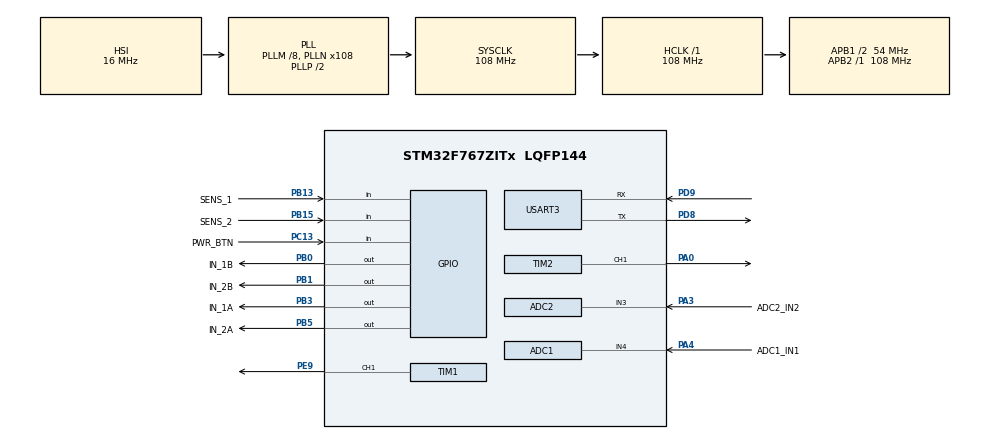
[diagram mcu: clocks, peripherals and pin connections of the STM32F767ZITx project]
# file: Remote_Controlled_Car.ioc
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ADC1.Channel-1\#ChannelRegularConversion=ADC_CHANNEL_4
ADC1.NbrOfConversionFlag=1
ADC1.Rank-1\#ChannelRegularConversion=1
ADC1.SamplingTime-1\#ChannelRegularConversion=ADC_SAMPLETIME_3CYCLES
ADC1.master=1
ADC2.Channel-0\#ChannelRegularConversion=ADC_CHANNEL_3
ADC2.NbrOfConversionFlag=1
ADC2.Rank-0\#ChannelRegularConversion=1
ADC2.SamplingTime-0\#ChannelRegularConversion=ADC_SAMPLETIME_3CYCLES
Mcu.Family=STM32F7
Mcu.Name=STM32F767ZITx
Mcu.Package=LQFP144
NVIC.PriorityGroup=NVIC_PRIORITYGROUP_4
PA0/WKUP.Signal=S_TIM2_CH1_ETR
PA3.GPIO_Label=ADC2_IN2
PA3.Signal=ADCx_IN3
PA4.GPIO_Label=ADC1_IN1
PA4.Signal=ADCx_IN4
PB0.GPIO_Label=IN_1B
PB0.Signal=GPIO_Output
PB1.GPIO_Label=IN_2B
PB1.Signal=GPIO_Output
PB13.GPIO_Label=SENS_1
PB13.Signal=GPIO_Input
PB15.GPIO_Label=SENS_2
PB15.Signal=GPIO_Input
PB3.GPIO_Label=IN_1A
PB3.Signal=GPIO_Output
PB5.GPIO_Label=IN_2A
PB5.Signal=GPIO_Output
PC13.GPIO_Label=PWR_BTN
PC13.Signal=GPIO_Input
PD8.Mode=Asynchronous
PD8.Signal=USART3_TX
PD9.Mode=Asynchronous
PD9.Signal=USART3_RX
PE9.Signal=S_TIM1_CH1
PH0/OSC_IN.Mode=HSE-External-Oscillator
PH0/OSC_IN.Signal=RCC_OSC_IN
PH1/OSC_OUT.Mode=HSE-External-Oscillator
PH1/OSC_OUT.Signal=RCC_OSC_OUT
ProjectManager.HeapSize=0x200
ProjectManager.StackSize=0x400
ProjectManager.TargetToolchain=STM32CubeIDE
RCC.48MHZClocksFreq_Value=24000000
RCC.AHBFreq_Value=108000000
RCC.APB1CLKDivider=RCC_HCLK_DIV2
RCC.APB1Freq_Value=54000000
RCC.APB1TimFreq_Value=108000000
RCC.APB2Freq_Value=108000000
RCC.APB2TimFreq_Value=108000000
RCC.CortexFreq_Value=108000000
RCC.HCLKFreq_Value=108000000
RCC.HSE_VALUE=8000000
RCC.HSI_VALUE=16000000
RCC.LSE_VALUE=32768
RCC.PLLM=8
RCC.PLLMUL=RCC_PLL_MUL9
RCC.PLLN=108
RCC.PRESCALERUSB=RCC_USBCLKSOURCE_PLL_DIV1_5
RCC.SYSCLKFreq_VALUE=108000000
RCC.SYSCLKSource=RCC_SYSCLKSOURCE_PLLCLK
RCC.SYSCLKSourceVirtual=RCC_SYSCLKSOURCE_PLLCLK
RCC.USBFreq_Value=108000000
RCC.VCOOutputFreq_Value=216000000
SH.ADCx_IN3.0=ADC2_IN3,IN3
SH.ADCx_IN4.0=ADC1_IN4,IN4
SH.S_TIM1_CH1.0=TIM1_CH1,PWM Generation1 CH1
SH.S_TIM2_CH1_ETR.0=TIM2_CH1,PWM Generation1 CH1
TIM1.Channel-PWM\ Generation1\ CH1=TIM_CHANNEL_1
TIM1.Period=999
TIM1.Prescaler=108-1
TIM2.Channel-PWM\ Generation1\ CH1=TIM_CHANNEL_1
TIM2.Period=999
TIM2.Prescaler=108-1
USART3.VirtualMode-Asynchronous=VM_ASYNC
VP_TIM1_VS_ClockSourceINT.Mode=Internal
VP_TIM2_VS_ClockSourceINT.Mode=Internal
board=NUCLEO-F767ZI

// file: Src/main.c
/* USER CODE BEGIN Header */
/**
  ******************************************************************************
  * @file           : main.c
  * @brief          : Main program body
  ******************************************************************************
  * @attention
  *
  * Copyright (c) 2025 STMicroelectronics.
  * All rights reserved.
  *
  * This software is licensed under terms that can be found in the LICENSE file
  * in the root directory of this software component.
  * If no LICENSE file comes with this software, it is provided AS-IS.
  *
  ******************************************************************************
  */
/* USER CODE END Header */
#include "main.h"
#include <math.h>

/* Function: blocking ADC read (12-bit) */
static uint32_t ReadADCBlocking(ADC_HandleTypeDef *hadc) {
  uint32_t val = 0;
  HAL_ADC_Start(hadc);
  if (HAL_ADC_PollForConversion(hadc, 10) == HAL_OK) {
    val = HAL_ADC_GetValue(hadc);
  }
  HAL_ADC_Stop(hadc);
  return val;
}

ADC_HandleTypeDef hadc1;
ADC_HandleTypeDef hadc2;

TIM_HandleTypeDef htim1;
TIM_HandleTypeDef htim2;

UART_HandleTypeDef huart3;

/* USER CODE BEGIN PV */
  uint32_t motorA_speed = 0; // 0 to 999 (Counter Period value)
  uint32_t motorB_speed = 0; // 0 to 999 (Counter Period value)

/* USER CODE END PV */

void SystemClock_Config(void);
static void MX_GPIO_Init(void);
static void MX_ADC1_Init(void);
static void MX_ADC2_Init(void);
static void MX_TIM1_Init(void);
static void MX_TIM2_Init(void);
static void MX_USART3_UART_Init(void);

int main(void)
{

  /* MCU Configuration--------------------------------------------------------*/

  /* Reset of all peripherals, Initializes the Flash interface and the Systick. */
  HAL_Init();

  /* Configure the system clock */
  SystemClock_Config();

  /* Initialize all configured peripherals */
  MX_GPIO_Init();
  MX_ADC1_Init();
  MX_ADC2_Init();
  MX_TIM1_Init();
  MX_TIM2_Init();
  MX_USART3_UART_Init();
  /* USER CODE BEGIN 2 */
HAL_TIM_PWM_Start(&htim1, TIM_CHANNEL_1); // Motor A (PE9)
HAL_TIM_PWM_Start(&htim2, TIM_CHANNEL_1); // Motor B (PA5)

  /* USER CODE END 2 */

  /* Infinite loop */
  while (1)
  {

    /* USER CODE BEGIN 3 */

  /* Joystick control loop
   * ADC channels: hadc1 and hadc2 (configured in CubeMX)
   * - Read both ADCs, map to [-1..1] with center ~2048 (12-bit ADC)
   * - Compute differential drive: left = y + x, right = y - x
   * - Set motor direction pins and PWM duty (0..htim.Init.Period)
   */

  const float deadzone = 0.05f; // small deadzone to avoid jitter
  const uint32_t pwm_max = htim1.Init.Period; // assume both timers use same period (999)

  while (1)
  {
  uint32_t a1 = ReadADCBlocking(&hadc1); // e.g. X or Y
  uint32_t a2 = ReadADCBlocking(&hadc2);

    // Convert to -1..1 (12-bit ADC: 0..4095). Center ~2048
    float x = ((float)a1 - 2048.0f) / 2048.0f;
    float y = ((float)a2 - 2048.0f) / 2048.0f;

    // apply deadzone
    if (fabsf(x) < deadzone) x = 0.0f;
    if (fabsf(y) < deadzone) y = 0.0f;

    // differential mixing
    float left = y + x;
    float right = y - x;

  // set max values within the range -1.0 to 1.0
  if (left > 1.0f) left = 1.0f;
  if (left < -1.0f) left = -1.0f;
  if (right > 1.0f) right = 1.0f;
  if (right < -1.0f) right = -1.0f;

    // Motor A (left) -> TIM1_CH1 (PE9) ; Motor B (right) -> TIM2_CH1 (PA5)
    // Direction pins: IN_1A/IN_2A for Motor A, IN_1B/IN_2B for Motor B

    // Motor A direction
    if (left >= 0.0f) {
      HAL_GPIO_WritePin(GPIOB, IN_1A_Pin, GPIO_PIN_SET);
      HAL_GPIO_WritePin(GPIOB, IN_2A_Pin, GPIO_PIN_RESET);
    } else {
      HAL_GPIO_WritePin(GPIOB, IN_1A_Pin, GPIO_PIN_RESET);
      HAL_GPIO_WritePin(GPIOB, IN_2A_Pin, GPIO_PIN_SET);
    }

    // Motor B direction
    if (right >= 0.0f) {
      HAL_GPIO_WritePin(GPIOB, IN_1B_Pin, GPIO_PIN_SET);
      HAL_GPIO_WritePin(GPIOB, IN_2B_Pin, GPIO_PIN_RESET);
    } else {
      HAL_GPIO_WritePin(GPIOB, IN_1B_Pin, GPIO_PIN_RESET);
      HAL_GPIO_WritePin(GPIOB, IN_2B_Pin, GPIO_PIN_SET);
    }

    // Set PWM duty cycle
    uint32_t cmpA = (uint32_t)(fminf(fabsf(left), 1.0f) * (float)pwm_max);
    uint32_t cmpB = (uint32_t)(fminf(fabsf(right), 1.0f) * (float)pwm_max);

    __HAL_TIM_SET_COMPARE(&htim1, TIM_CHANNEL_1, cmpA);
    __HAL_TIM_SET_COMPARE(&htim2, TIM_CHANNEL_1, cmpB);

    HAL_Delay(20); // ~50 Hz update
  }
  }
  /* USER CODE END 3 */
}

void SystemClock_Config(void)
{
  RCC_OscInitTypeDef RCC_OscInitStruct = {0};
  RCC_ClkInitTypeDef RCC_ClkInitStruct = {0};

  /** Configure the main internal regulator output voltage
  */
  __HAL_RCC_PWR_CLK_ENABLE();
  __HAL_PWR_VOLTAGESCALING_CONFIG(PWR_REGULATOR_VOLTAGE_SCALE3);

  /** Initializes the RCC Oscillators according to the specified parameters
  * in the RCC_OscInitTypeDef structure.
  */
  RCC_OscInitStruct.OscillatorType = RCC_OSCILLATORTYPE_HSI;
  RCC_OscInitStruct.HSIState = RCC_HSI_ON;
  RCC_OscInitStruct.HSICalibrationValue = RCC_HSICALIBRATION_DEFAULT;
  RCC_OscInitStruct.PLL.PLLState = RCC_PLL_ON;
  RCC_OscInitStruct.PLL.PLLSource = RCC_PLLSOURCE_HSI;
  RCC_OscInitStruct.PLL.PLLM = 8;
  RCC_OscInitStruct.PLL.PLLN = 108;
  RCC_OscInitStruct.PLL.PLLP = RCC_PLLP_DIV2;
  RCC_OscInitStruct.PLL.PLLQ = 2;
  RCC_OscInitStruct.PLL.PLLR = 2;
  if (HAL_RCC_OscConfig(&RCC_OscInitStruct) != HAL_OK)
  {
    Error_Handler();
  }

  /** Activate the Over-Drive mode
  */
  if (HAL_PWREx_EnableOverDrive() != HAL_OK)
  {
    Error_Handler();
  }

  /** Initializes the CPU, AHB and APB buses clocks
  */
  RCC_ClkInitStruct.ClockType = RCC_CLOCKTYPE_HCLK|RCC_CLOCKTYPE_SYSCLK
                              |RCC_CLOCKTYPE_PCLK1|RCC_CLOCKTYPE_PCLK2;
  RCC_ClkInitStruct.SYSCLKSource = RCC_SYSCLKSOURCE_PLLCLK;
  RCC_ClkInitStruct.AHBCLKDivider = RCC_SYSCLK_DIV1;
  RCC_ClkInitStruct.APB1CLKDivider = RCC_HCLK_DIV2;
  RCC_ClkInitStruct.APB2CLKDivider = RCC_HCLK_DIV1;

  if (HAL_RCC_ClockConfig(&RCC_ClkInitStruct, FLASH_LATENCY_3) != HAL_OK)
  {
    Error_Handler();
  }
}

static void MX_ADC1_Init(void)
{

  ADC_ChannelConfTypeDef sConfig = {0};

  /** Configure the global features of the ADC (Clock, Resolution, Data Alignment and number of conversion)
  */
  hadc1.Instance = ADC1;
  hadc1.Init.ClockPrescaler = ADC_CLOCK_SYNC_PCLK_DIV4;
  hadc1.Init.Resolution = ADC_RESOLUTION_12B;
  hadc1.Init.ScanConvMode = ADC_SCAN_DISABLE;
  hadc1.Init.ContinuousConvMode = DISABLE;
  hadc1.Init.DiscontinuousConvMode = DISABLE;
  hadc1.Init.ExternalTrigConvEdge = ADC_EXTERNALTRIGCONVEDGE_NONE;
  hadc1.Init.ExternalTrigConv = ADC_SOFTWARE_START;
  hadc1.Init.DataAlign = ADC_DATAALIGN_RIGHT;
  hadc1.Init.NbrOfConversion = 1;
  hadc1.Init.DMAContinuousRequests = DISABLE;
  hadc1.Init.EOCSelection = ADC_EOC_SINGLE_CONV;
  if (HAL_ADC_Init(&hadc1) != HAL_OK)
  {
    Error_Handler();
  }

  /** Configure for the selected ADC regular channel its corresponding rank in the sequencer and its sample time.
  */
  sConfig.Channel = ADC_CHANNEL_4;
  sConfig.Rank = ADC_REGULAR_RANK_1;
  sConfig.SamplingTime = ADC_SAMPLETIME_3CYCLES;
  if (HAL_ADC_ConfigChannel(&hadc1, &sConfig) != HAL_OK)
  {
    Error_Handler();
  }

}

static void MX_ADC2_Init(void)
{

  ADC_ChannelConfTypeDef sConfig = {0};

  /** Configure the global features of the ADC (Clock, Resolution, Data Alignment and number of conversion)
  */
  hadc2.Instance = ADC2;
  hadc2.Init.ClockPrescaler = ADC_CLOCK_SYNC_PCLK_DIV4;
  hadc2.Init.Resolution = ADC_RESOLUTION_12B;
  hadc2.Init.ScanConvMode = ADC_SCAN_DISABLE;
  hadc2.Init.ContinuousConvMode = DISABLE;
  hadc2.Init.DiscontinuousConvMode = DISABLE;
  hadc2.Init.ExternalTrigConvEdge = ADC_EXTERNALTRIGCONVEDGE_NONE;
  hadc2.Init.ExternalTrigConv = ADC_SOFTWARE_START;
  hadc2.Init.DataAlign = ADC_DATAALIGN_RIGHT;
  hadc2.Init.NbrOfConversion = 1;
  hadc2.Init.DMAContinuousRequests = DISABLE;
  hadc2.Init.EOCSelection = ADC_EOC_SINGLE_CONV;
  if (HAL_ADC_Init(&hadc2) != HAL_OK)
  {
    Error_Handler();
  }

  /** Configure for the selected ADC regular channel its corresponding rank in the sequencer and its sample time.
  */
  sConfig.Channel = ADC_CHANNEL_3;
  sConfig.Rank = ADC_REGULAR_RANK_1;
  sConfig.SamplingTime = ADC_SAMPLETIME_3CYCLES;
  if (HAL_ADC_ConfigChannel(&hadc2, &sConfig) != HAL_OK)
  {
    Error_Handler();
  }

}

static void MX_TIM1_Init(void)
{

  TIM_ClockConfigTypeDef sClockSourceConfig = {0};
  TIM_MasterConfigTypeDef sMasterConfig = {0};
  TIM_OC_InitTypeDef sConfigOC = {0};
  TIM_BreakDeadTimeConfigTypeDef sBreakDeadTimeConfig = {0};

  htim1.Instance = TIM1;
  htim1.Init.Prescaler = 108-1;
  htim1.Init.CounterMode = TIM_COUNTERMODE_UP;
  htim1.Init.Period = 999;
  htim1.Init.ClockDivision = TIM_CLOCKDIVISION_DIV1;
  htim1.Init.RepetitionCounter = 0;
  htim1.Init.AutoReloadPreload = TIM_AUTORELOAD_PRELOAD_DISABLE;
  if (HAL_TIM_Base_Init(&htim1) != HAL_OK)
  {
    Error_Handler();
  }
  sClockSourceConfig.ClockSource = TIM_CLOCKSOURCE_INTERNAL;
  if (HAL_TIM_ConfigClockSource(&htim1, &sClockSourceConfig) != HAL_OK)
  {
    Error_Handler();
  }
  if (HAL_TIM_PWM_Init(&htim1) != HAL_OK)
  {
    Error_Handler();
  }
  sMasterConfig.MasterOutputTrigger = TIM_TRGO_RESET;
  sMasterConfig.MasterOutputTrigger2 = TIM_TRGO2_RESET;
  sMasterConfig.MasterSlaveMode = TIM_MASTERSLAVEMODE_DISABLE;
  if (HAL_TIMEx_MasterConfigSynchronization(&htim1, &sMasterConfig) != HAL_OK)
  {
    Error_Handler();
  }
  sConfigOC.OCMode = TIM_OCMODE_PWM1;
  sConfigOC.Pulse = 0;
  sConfigOC.OCPolarity = TIM_OCPOLARITY_HIGH;
  sConfigOC.OCNPolarity = TIM_OCNPOLARITY_HIGH;
  sConfigOC.OCFastMode = TIM_OCFAST_DISABLE;
  sConfigOC.OCIdleState = TIM_OCIDLESTATE_RESET;
  sConfigOC.OCNIdleState = TIM_OCNIDLESTATE_RESET;
  if (HAL_TIM_PWM_ConfigChannel(&htim1, &sConfigOC, TIM_CHANNEL_1) != HAL_OK)
  {
    Error_Handler();
  }
  sBreakDeadTimeConfig.OffStateRunMode = TIM_OSSR_DISABLE;
  sBreakDeadTimeConfig.OffStateIDLEMode = TIM_OSSI_DISABLE;
  sBreakDeadTimeConfig.LockLevel = TIM_LOCKLEVEL_OFF;
  sBreakDeadTimeConfig.DeadTime = 0;
  sBreakDeadTimeConfig.BreakState = TIM_BREAK_DISABLE;
  sBreakDeadTimeConfig.BreakPolarity = TIM_BREAKPOLARITY_HIGH;
  sBreakDeadTimeConfig.BreakFilter = 0;
  sBreakDeadTimeConfig.Break2State = TIM_BREAK2_DISABLE;
  sBreakDeadTimeConfig.Break2Polarity = TIM_BREAK2POLARITY_HIGH;
  sBreakDeadTimeConfig.Break2Filter = 0;
  sBreakDeadTimeConfig.AutomaticOutput = TIM_AUTOMATICOUTPUT_DISABLE;
  if (HAL_TIMEx_ConfigBreakDeadTime(&htim1, &sBreakDeadTimeConfig) != HAL_OK)
  {
    Error_Handler();
  }
  HAL_TIM_MspPostInit(&htim1);

}

static void MX_TIM2_Init(void)
{

  TIM_ClockConfigTypeDef sClockSourceConfig = {0};
  TIM_MasterConfigTypeDef sMasterConfig = {0};
  TIM_OC_InitTypeDef sConfigOC = {0};

  htim2.Instance = TIM2;
  htim2.Init.Prescaler = 108-1;
  htim2.Init.CounterMode = TIM_COUNTERMODE_UP;
  htim2.Init.Period = 999;
  htim2.Init.ClockDivision = TIM_CLOCKDIVISION_DIV1;
  htim2.Init.AutoReloadPreload = TIM_AUTORELOAD_PRELOAD_DISABLE;
  if (HAL_TIM_Base_Init(&htim2) != HAL_OK)
  {
    Error_Handler();
  }
  sClockSourceConfig.ClockSource = TIM_CLOCKSOURCE_INTERNAL;
  if (HAL_TIM_ConfigClockSource(&htim2, &sClockSourceConfig) != HAL_OK)
  {
    Error_Handler();
  }
  if (HAL_TIM_PWM_Init(&htim2) != HAL_OK)
  {
    Error_Handler();
  }
  sMasterConfig.MasterOutputTrigger = TIM_TRGO_RESET;
  sMasterConfig.MasterSlaveMode = TIM_MASTERSLAVEMODE_DISABLE;
  if (HAL_TIMEx_MasterConfigSynchronization(&htim2, &sMasterConfig) != HAL_OK)
  {
    Error_Handler();
  }
  sConfigOC.OCMode = TIM_OCMODE_PWM1;
  sConfigOC.Pulse = 0;
  sConfigOC.OCPolarity = TIM_OCPOLARITY_HIGH;
  sConfigOC.OCFastMode = TIM_OCFAST_DISABLE;
  if (HAL_TIM_PWM_ConfigChannel(&htim2, &sConfigOC, TIM_CHANNEL_1) != HAL_OK)
  {
    Error_Handler();
  }
  HAL_TIM_MspPostInit(&htim2);

}

static void MX_USART3_UART_Init(void)
{

  huart3.Instance = USART3;
  huart3.Init.BaudRate = 115200;
  huart3.Init.WordLength = UART_WORDLENGTH_8B;
  huart3.Init.StopBits = UART_STOPBITS_1;
  huart3.Init.Parity = UART_PARITY_NONE;
  huart3.Init.Mode = UART_MODE_TX_RX;
  huart3.Init.HwFlowCtl = UART_HWCONTROL_NONE;
  huart3.Init.OverSampling = UART_OVERSAMPLING_16;
  huart3.Init.OneBitSampling = UART_ONE_BIT_SAMPLE_DISABLE;
  huart3.AdvancedInit.AdvFeatureInit = UART_ADVFEATURE_NO_INIT;
  if (HAL_UART_Init(&huart3) != HAL_OK)
  {
    Error_Handler();
  }

}

static void MX_GPIO_Init(void)
{
  GPIO_InitTypeDef GPIO_InitStruct = {0};

  /* GPIO Ports Clock Enable */
  __HAL_RCC_GPIOC_CLK_ENABLE();
  __HAL_RCC_GPIOH_CLK_ENABLE();
  __HAL_RCC_GPIOA_CLK_ENABLE();
  __HAL_RCC_GPIOB_CLK_ENABLE();
  __HAL_RCC_GPIOE_CLK_ENABLE();
  __HAL_RCC_GPIOD_CLK_ENABLE();

  /*Configure GPIO pin Output Level */
  HAL_GPIO_WritePin(GPIOB, IN_1B_Pin|IN_2B_Pin|IN_1A_Pin|IN_2A_Pin, GPIO_PIN_RESET);

  /*Configure GPIO pin : PWR_BTN_Pin */
  GPIO_InitStruct.Pin = PWR_BTN_Pin;
  GPIO_InitStruct.Mode = GPIO_MODE_INPUT;
  GPIO_InitStruct.Pull = GPIO_NOPULL;
  HAL_GPIO_Init(PWR_BTN_GPIO_Port, &GPIO_InitStruct);

  /*Configure GPIO pins : IN_1B_Pin IN_2B_Pin IN_1A_Pin IN_2A_Pin */
  GPIO_InitStruct.Pin = IN_1B_Pin|IN_2B_Pin|IN_1A_Pin|IN_2A_Pin;
  GPIO_InitStruct.Mode = GPIO_MODE_OUTPUT_PP;
  GPIO_InitStruct.Pull = GPIO_NOPULL;
  GPIO_InitStruct.Speed = GPIO_SPEED_FREQ_LOW;
  HAL_GPIO_Init(GPIOB, &GPIO_InitStruct);

  /*Configure GPIO pins : SENS_1_Pin SENS_2_Pin */
  GPIO_InitStruct.Pin = SENS_1_Pin|SENS_2_Pin;
  GPIO_InitStruct.Mode = GPIO_MODE_INPUT;
  GPIO_InitStruct.Pull = GPIO_NOPULL;
  HAL_GPIO_Init(GPIOB, &GPIO_InitStruct);

}

void Error_Handler(void)
{
  __disable_irq();
  while (1)
  {
  }
}
